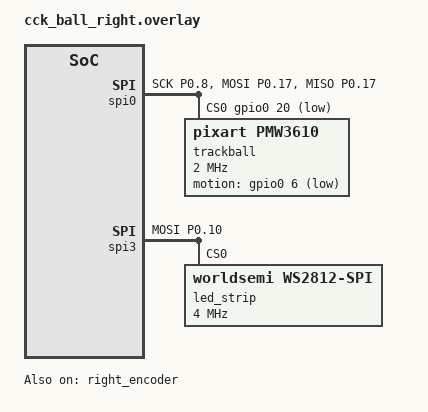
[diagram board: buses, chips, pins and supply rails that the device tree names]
/*
 * Copyright (c) 2020 ZMK Contributors
 *
 * SPDX-License-Identifier: MIT
 */

#include "cck_ball.dtsi"
#include <zephyr/dt-bindings/input/input-event-codes.h>
#include <dt-bindings/zmk/input_transform.h>

&default_transform {
    col-offset = <6>;
};

&kscan0 {
	col-gpios
		= <&gpio1 15 GPIO_ACTIVE_HIGH>
        , <&gpio0 9 GPIO_ACTIVE_HIGH>
        , <&gpio0 10 GPIO_ACTIVE_HIGH>
        , <&gpio1 11 GPIO_ACTIVE_HIGH>
        , <&gpio1 4 GPIO_ACTIVE_HIGH>
        , <&gpio1 6 GPIO_ACTIVE_HIGH>
		;
};

// trackball
&pinctrl {
    spi0_default: spi0_default {
        group1 {
            psels = <NRF_PSEL(SPIM_SCK, 0, 8)>,
                <NRF_PSEL(SPIM_MOSI, 0, 17)>,
                <NRF_PSEL(SPIM_MISO, 0, 17)>;
        };
    };

    spi0_sleep: spi0_sleep {
        group1 {
            psels = <NRF_PSEL(SPIM_SCK, 0, 8)>,
                <NRF_PSEL(SPIM_MOSI, 0, 17)>,
                <NRF_PSEL(SPIM_MISO, 0, 17)>;
            low-power-enable;
        };
    };
};

&spi0 {
    status = "okay";
    compatible = "nordic,nrf-spim";
    pinctrl-0 = <&spi0_default>;
    pinctrl-1 = <&spi0_sleep>;
    pinctrl-names = "default", "sleep";
    cs-gpios = <&gpio0 20 GPIO_ACTIVE_LOW>;

    trackball: trackball@0 {
        status = "okay";
        compatible = "pixart,pmw3610";
        reg = <0>;
        spi-max-frequency = <2000000>;
        // Native Zephyr binding: motion pin replaces irq-gpios
        motion-gpios = <&gpio0 6 (GPIO_ACTIVE_LOW | GPIO_PULL_UP)>;
        zephyr,axis-x = <INPUT_REL_X>;
        zephyr,axis-y = <INPUT_REL_Y>;
        // 400 CPI — reduced from 600 to tame slight over-sensitivity.
        // Raise to 600 or 800 if cursor feels sluggish.
        // Orientation and per-layer behaviors handled by trackball_listener below.
        res-cpi = <400>;
    };
};


//RGB bus
&pinctrl {
    spi3_default: spi3_default {
        group1 {
            psels = <NRF_PSEL(SPIM_MOSI, 0, 10)>;
        };
    };

    spi3_sleep: spi3_sleep {
        group1 {
            psels = <NRF_PSEL(SPIM_MOSI, 0, 10)>;
            low-power-enable;
        };
    };
};

&spi3 {
    compatible = "nordic,nrf-spim";
    status = "okay";

    pinctrl-0 = <&spi3_default>;
    pinctrl-1 = <&spi3_sleep>;
    pinctrl-names = "default", "sleep";

    led_strip: ws2812@0 {
        compatible = "worldsemi,ws2812-spi";

        /* SPI */
        reg = <0>; /* ignored, but necessary for SPI bindings */
        spi-max-frequency = <4000000>;

        /* WS2812 */
        chain-length = <27>; /* number of LEDs */
        spi-one-frame = <0x70>;
        spi-zero-frame = <0x40>;
        color-mapping = <LED_COLOR_ID_GREEN
                         LED_COLOR_ID_RED
                         LED_COLOR_ID_BLUE>;
    };
};



/ {
    trackball_listener: trackball_listener {
        compatible = "zmk,input-listener";
        device = <&trackball>;

        // No orientation transform needed — the native Zephyr PMW3610 driver
        // already outputs correct X/Y axes for this physical mounting.
        // If cursor directions are wrong, uncomment one of the zip_xy_transform
        // lines in the scroll/snipe children below as a starting point.

        // Layers 1+3 (scroll): convert XY motion to scroll-wheel axes.
        // Layer 1 = Sym-en, Layer 3 = Sym-ru — scroll active from both base layers.
        // Adjust zip_scroll_scaler divisor to taste (higher = slower scroll).
        scroll {
            layers = <4>;
            input-processors = <&zip_xy_to_scroll_mapper>,
                               <&zip_y_transform TRANSFORM_Y_INVERT>,
                               <&zip_scroll_scaler 1 8>;
        };

        // Layer 4 (snipe): scale to ~1/3 speed — matches old SNIPE_CPI 200 vs 600.
        snipe {
            layers = <1 3>;
            input-processors = <&zip_xy_scaler 1 3>;
        };
    };
};

// enable right encoder
&right_encoder {
	status = "okay";
};
